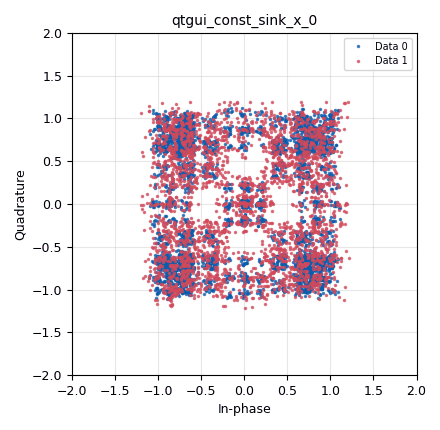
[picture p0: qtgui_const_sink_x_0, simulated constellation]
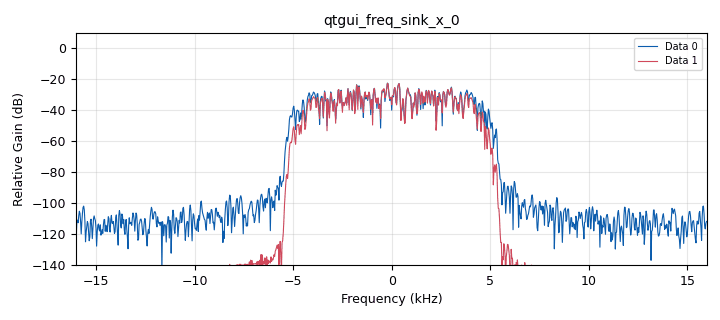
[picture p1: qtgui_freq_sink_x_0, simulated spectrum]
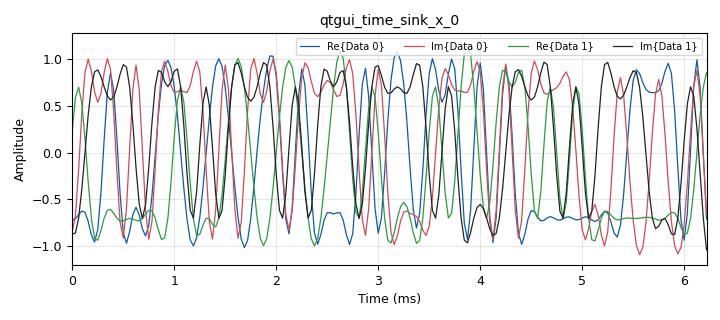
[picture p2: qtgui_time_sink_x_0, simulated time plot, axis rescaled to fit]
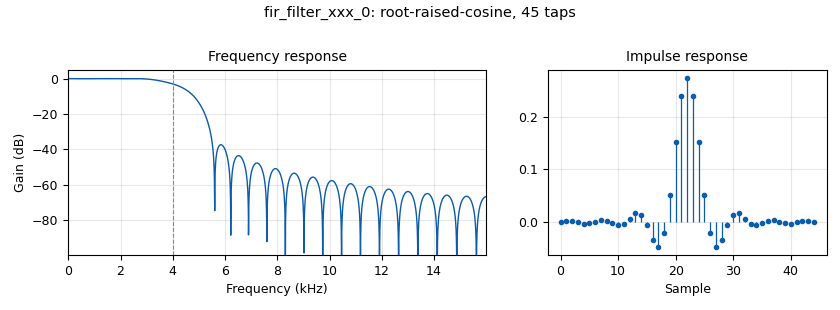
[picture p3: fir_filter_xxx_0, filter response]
options:
  parameters:
    author: zehao
    generate_options: qt_gui
    id: mpsk_stage1
    output_language: python
    title: Not titled yet
  states: {}

blocks:
- name: arity
  id: variable
  parameters:
    value: '4'
  states: {}
- name: excess_bw
  id: variable
  parameters:
    value: '0.35'
  states: {}
- name: qpsk
  id: variable_constellation_rect
  parameters:
    const_points: '[-1.07-1.07j, -1.07+1.07j, 1.07+1.07j, 1.07-1.07j]'
    imag_sect: '2'
    real_sect: '2'
    rot_sym: '4'
    sym_map: '[0, 1, 3, 2]'
    w_imag_sect: '1'
    w_real_sect: '1'
  states: {}
- name: samp_rate
  id: variable
  parameters:
    value: '32000'
  states: {}
- name: sps
  id: variable
  parameters:
    value: '4'
  states: {}
- name: analog_random_source_x_0
  id: analog_random_source_x
  parameters:
    max: '255'
    min: '0'
    num_samps: '10000'
    repeat: 'True'
    type: byte
  states: {}
- name: blocks_throttle_0
  id: blocks_throttle
  parameters:
    samples_per_second: samp_rate
    type: complex
  states: {}
- name: digital_constellation_modulator_0
  id: digital_constellation_modulator
  parameters:
    constellation: qpsk
    differential: 'True'
    excess_bw: '0.35'
    samples_per_symbol: '4'
  states: {}
- name: fir_filter_xxx_0
  id: fir_filter_xxx
  parameters:
    decim: '1'
    taps: firdes.root_raised_cosine(1.0,samp_rate,samp_rate/sps,excess_bw,11*sps)
    type: ccc
  states: {}
- name: qtgui_const_sink_x_0
  id: qtgui_const_sink_x
  parameters:
    nconnections: '2'
    size: '4096'
    type: complex
  states: {}
- name: qtgui_freq_sink_x_0
  id: qtgui_freq_sink_x
  parameters:
    bw: samp_rate
    fc: '0'
    fftsize: '1024'
    nconnections: '2'
    type: complex
    wintype: firdes.WIN_BLACKMAN_hARRIS
  states: {}
- name: qtgui_time_sink_x_0
  id: qtgui_time_sink_x
  parameters:
    nconnections: '2'
    size: '200'
    srate: samp_rate
    type: complex
  states: {}

connections:
- [analog_random_source_x_0, '0', digital_constellation_modulator_0, '0']
- [blocks_throttle_0, '0', fir_filter_xxx_0, '0']
- [blocks_throttle_0, '0', qtgui_const_sink_x_0, '0']
- [blocks_throttle_0, '0', qtgui_freq_sink_x_0, '0']
- [blocks_throttle_0, '0', qtgui_time_sink_x_0, '0']
- [digital_constellation_modulator_0, '0', blocks_throttle_0, '0']
- [fir_filter_xxx_0, '0', qtgui_const_sink_x_0, '1']
- [fir_filter_xxx_0, '0', qtgui_freq_sink_x_0, '1']
- [fir_filter_xxx_0, '0', qtgui_time_sink_x_0, '1']

metadata:
  file_format: 1
